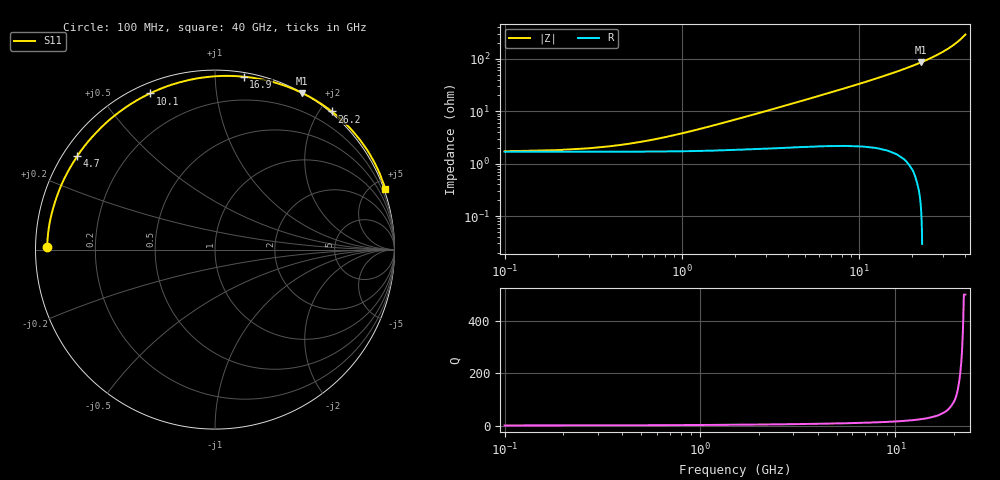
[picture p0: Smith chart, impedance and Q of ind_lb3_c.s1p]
#  Hz  S  RI  R  50
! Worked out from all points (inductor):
!   400 points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, 100 MHz to 40 GHz, reference 50 ohm
!   read as one part to ground: L = 527 pH near 1.7 GHz
!   highest Q = 540 at 22.4 GHz (marker M1), where L = 603 pH
!   S11 on the Smith chart (normalised r, x): 100 MHz: 0.03, +0.01; 4.7 GHz: 0.04, +0.31; 10.1 GHz: 0.04, +0.67; 16.9 GHz: 0.03, +1.18; 26.2 GHz: -0.02, +2.15; 40 GHz: -0.09, +5.81
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1e8  -0.9348 0.0126
1.1e9  -0.9234 0.1371
2.2e9  -0.891 0.2663
3.3e9  -0.8442 0.386
4.7e9  -0.7664 0.5221
5.1e9  -0.7413 0.5579
6.3e9  -0.659 0.6551
7.6e9  -0.5619 0.7447
8.9e9  -0.4595 0.8172
1.01e10  -0.362 0.8702
1.13e10  -0.2646 0.9109
1.25e10  -0.1681 0.9394
1.37e10  -0.0737 0.9578
1.51e10  0.0319 0.9674
1.69e10  0.1597 0.9636
1.85e10  0.2648 0.9476
2.01e10  0.3613 0.9222
2.24e10  0.4845 0.873
2.37e10  0.5466 0.84
2.51e10  0.6071 0.8017
2.62e10  0.6504 0.7695
2.79e10  0.7107 0.7179
3.01e10  0.777 0.6486
3.14e10  0.811 0.6071
3.29e10  0.845 0.5591
3.51e10  0.8869 0.4887
3.73e10  0.9197 0.419
4e10  0.9475 0.336
